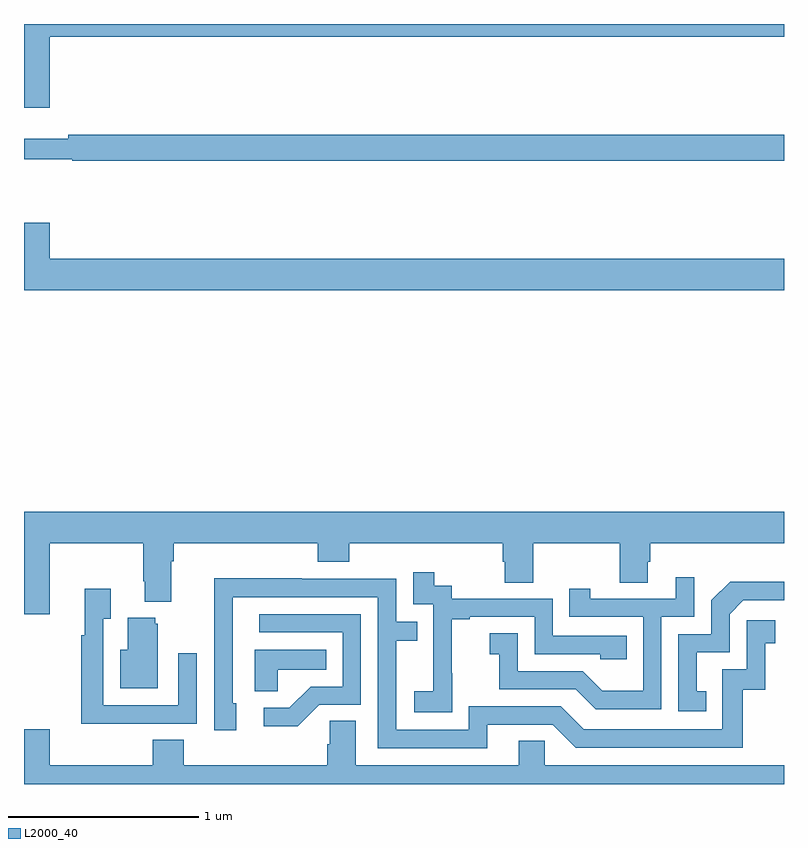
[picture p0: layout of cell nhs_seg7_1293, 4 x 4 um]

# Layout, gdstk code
import gdstk
lib = gdstk.Library(unit=1e-6, precision=1e-09)
def P(c, l, *ps):  # polygons
    for p in ps: c.add(gdstk.Polygon(p, *l))
L2000_40 = (2000, 40)

nhs_seg7_1293 = lib.new_cell('nhs_seg7_1293')
P(nhs_seg7_1293, L2000_40, [(201.136,1017.932),(205,1017.932),(205,1018),(201,1018),(201,1017.558),(201.136,1017.558)],
  [(205,1017.416),(201.232,1017.416),(201.232,1017.397),(201,1017.397),(201,1017.288),(201.255,1017.288),(201.255,1017.28),(205,1017.28)],
  [(205,1016.764),(201.136,1016.764),(201.136,1016.953),(201,1016.953),(201,1016.6),(205,1016.6)],
  [(201.136,1015.268),(201.628,1015.268),(201.628,1015.066),(201.635,1015.066),(201.635,1014.959),(201.775,1014.959),(201.775,1015.172),(201.788,1015.172),(201.788,1015.268),(202.547,1015.268),(202.547,1015.169),(202.712,1015.169),(202.712,1015.268),(203.519,1015.268),(203.519,1015.17),(203.531,1015.17),(203.531,1015.06),(203.679,1015.06),(203.679,1015.268),(204.136,1015.268),(204.136,1015.06),(204.283,1015.06),(204.283,1015.17),(204.296,1015.17),(204.296,1015.268),(205,1015.268),(205,1015.432),(201,1015.432),(201,1014.894),(201.136,1014.894)],
  [(203.253,1014.583),(203.252,1014.583),(203.252,1014.867),(203.347,1014.867),(203.347,1014.879),(203.688,1014.879),(203.688,1014.684),(204.033,1014.684),(204.033,1014.657),(204.173,1014.657),(204.173,1014.78),(203.784,1014.78),(203.784,1014.975),(203.25,1014.975),(203.25,1015.044),(203.158,1015.044),(203.158,1015.114),(203.049,1015.114),(203.049,1014.945),(203.154,1014.945),(203.154,1014.716),(203.153,1014.716),(203.153,1014.487),(203.055,1014.487),(203.055,1014.377),(203.253,1014.377)],
  [(204.354,1014.879),(204.528,1014.879),(204.528,1015.087),(204.431,1015.087),(204.431,1014.975),(203.98,1014.975),(203.98,1015.027),(203.869,1015.027),(203.869,1014.879),(204.258,1014.879),(204.258,1014.49),(204.044,1014.49),(203.94,1014.594),(203.598,1014.594),(203.598,1014.793),(203.451,1014.793),(203.451,1014.683),(203.5,1014.683),(203.5,1014.498),(203.903,1014.498),(204.008,1014.393),(204.354,1014.393)],
  [(203.437,1014.312),(203.784,1014.312),(203.904,1014.192),(204.784,1014.192),(204.784,1014.495),(204.902,1014.495),(204.902,1014.741),(204.955,1014.741),(204.955,1014.862),(204.804,1014.862),(204.804,1014.603),(204.675,1014.603),(204.675,1014.288),(203.946,1014.288),(203.826,1014.408),(203.34,1014.408),(203.34,1014.285),(202.959,1014.285),(202.959,1014.754),(203.069,1014.754),(203.069,1014.855),(202.959,1014.855),(202.959,1015.08),(202.463,1015.08),(202.463,1015.082),(202,1015.082),(202,1014.775),(202.002,1014.775),(202.002,1014.282),(202.117,1014.282),(202.117,1014.426),(202.098,1014.426),(202.098,1014.984),(202.863,1014.984),(202.863,1014.189),(203.437,1014.189)],
  [(204.59,1014.489),(204.541,1014.489),(204.541,1014.693),(204.714,1014.693),(204.714,1014.894),(204.786,1014.966),(205,1014.966),(205,1015.064),(204.716,1015.064),(204.618,1014.966),(204.618,1014.789),(204.444,1014.789),(204.444,1014.384),(204.59,1014.384)],
  [(201.593,1014.318),(201.909,1014.318),(201.909,1014.688),(201.813,1014.688),(201.813,1014.414),(201.417,1014.414),(201.417,1014.871),(201.457,1014.871),(201.457,1015.027),(201.32,1015.027),(201.32,1014.782),(201.301,1014.782),(201.301,1014.317),(201.593,1014.317)],
  [(202.554,1014.417),(202.773,1014.417),(202.773,1014.894),(202.239,1014.894),(202.239,1014.798),(202.677,1014.798),(202.677,1014.513),(202.508,1014.513),(202.397,1014.402),(202.263,1014.402),(202.263,1014.305),(202.441,1014.305)],
  [(201.703,1014.843),(201.692,1014.843),(201.692,1014.874),(201.545,1014.874),(201.545,1014.706),(201.506,1014.706),(201.506,1014.503),(201.703,1014.503)],
  [(202.335,1014.602),(202.592,1014.602),(202.592,1014.706),(202.214,1014.706),(202.214,1014.487),(202.335,1014.487)],
  [(205,1014.1),(203.742,1014.1),(203.742,1014.227),(203.603,1014.227),(203.603,1014.1),(202.747,1014.1),(202.747,1014.332),(202.608,1014.332),(202.608,1014.209),(202.595,1014.209),(202.595,1014.1),(201.842,1014.1),(201.842,1014.233),(201.677,1014.233),(201.677,1014.1),(201.136,1014.1),(201.136,1014.289),(201,1014.289),(201,1014),(205,1014)])

lib.write_gds('nhs_seg7_1293.gds')
